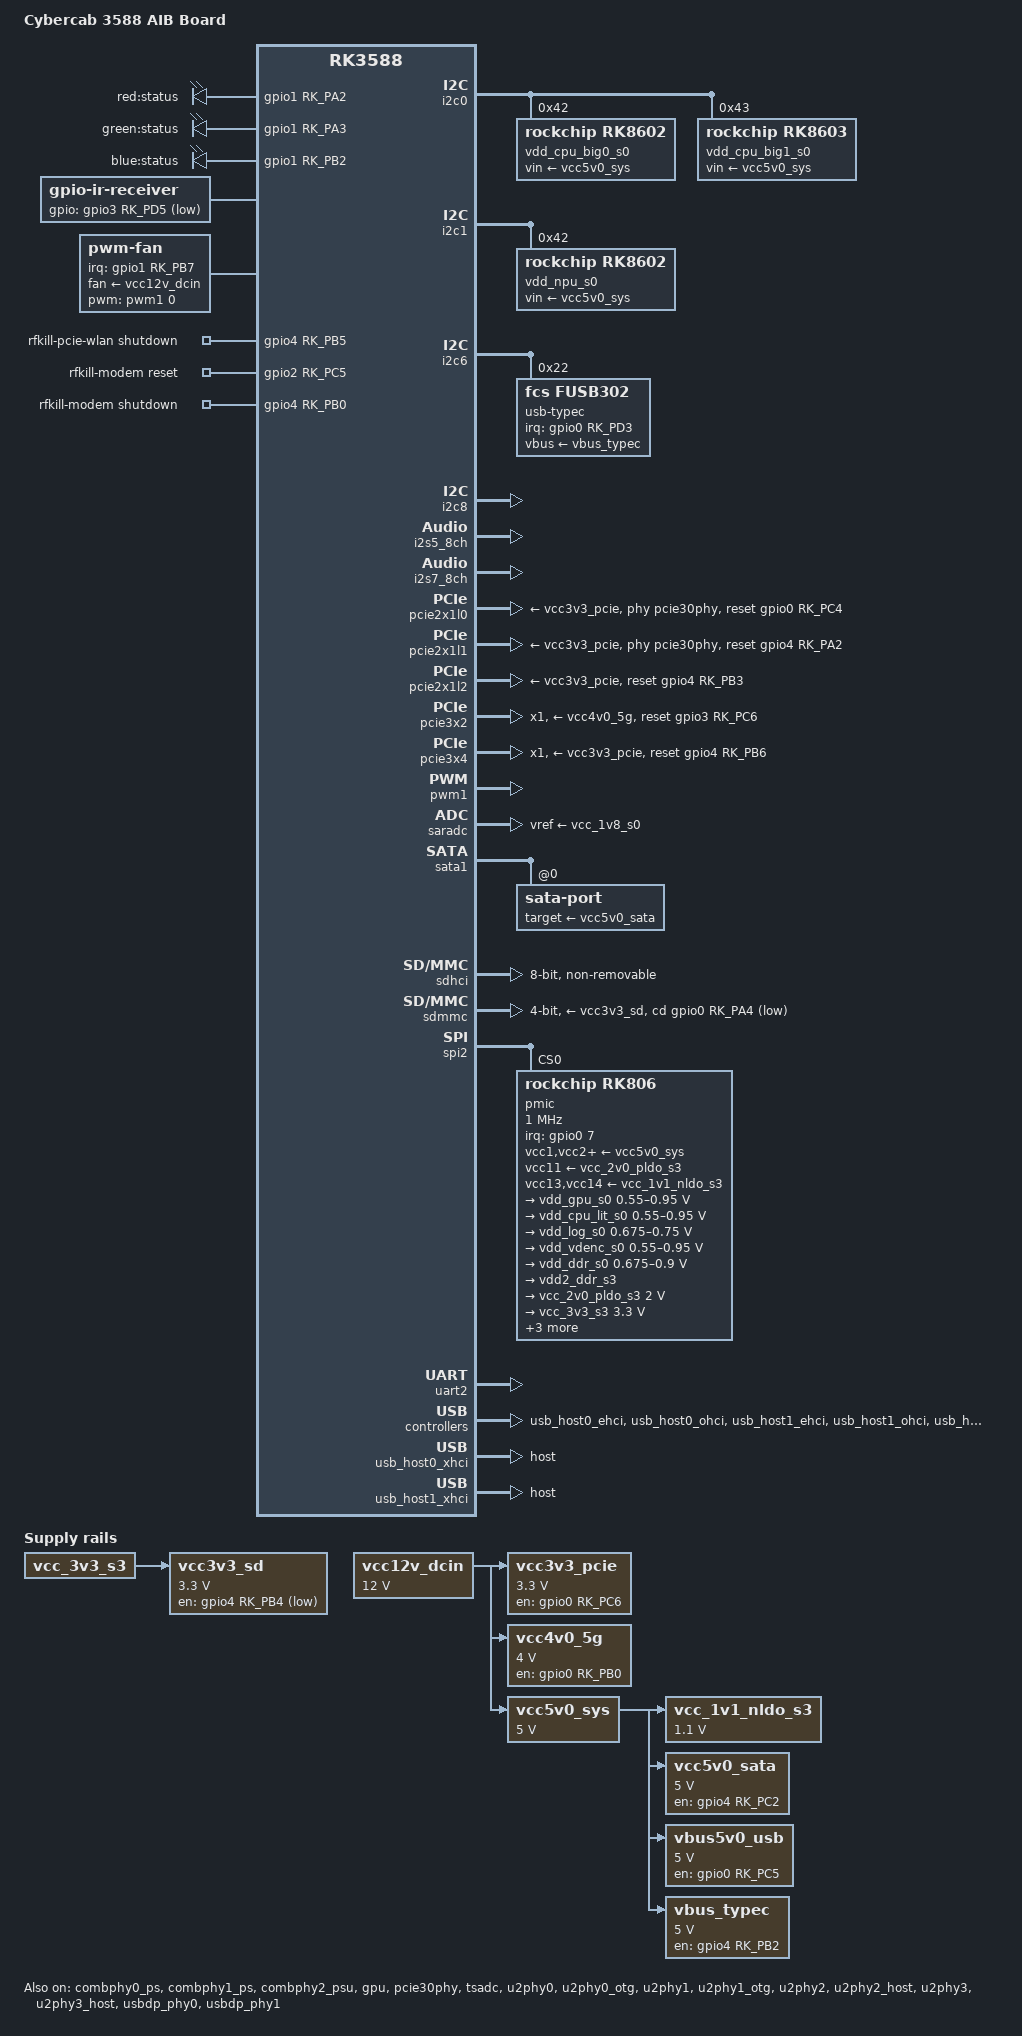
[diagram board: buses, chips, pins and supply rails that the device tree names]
// SPDX-License-Identifier: (GPL-2.0+ OR MIT)

/dts-v1/;
#include <dt-bindings/gpio/gpio.h>
#include <dt-bindings/pinctrl/rockchip.h>
#include <dt-bindings/pwm/pwm.h>
#include "rk3588.dtsi"

/ {
	model = "Cybercab 3588 AIB Board";
	compatible = "seewo,srcm3588-io", "rockchip,rk3588";

	aliases {
		mmc0 = &sdhci;
		mmc1 = &sdmmc;
		led-boot = &led_status_red;
		led-failsafe = &led_status_red;
		led-running = &led_status_blue;
		led-upgrade = &led_status_green;
	};

	leds {
		compatible = "gpio-leds";

		led_status_red: status-red {
			label = "red:status";
			gpios = <&gpio1 RK_PA2 GPIO_ACTIVE_HIGH>;
		};

		led_status_green: status-green {
			label = "green:status";
			gpios = <&gpio1 RK_PA3 GPIO_ACTIVE_HIGH>;
		};

		led_status_blue: status-blue {
			label = "blue:status";
			gpios = <&gpio1 RK_PB2 GPIO_ACTIVE_HIGH>;
		};
	};

	ir-receiver {
		compatible = "gpio-ir-receiver";
		gpios = <&gpio3 RK_PD5 GPIO_ACTIVE_LOW>;
		pinctrl-names = "default";
		pinctrl-0 = <&ir_out_pin>;
	};

	pwm-fan {
		compatible = "pwm-fan";
		cooling-levels = <100 150 200 255>;
		fan-supply = <&vcc12v_dcin>;
		interrupt-parent = <&gpio1>;
		interrupts = <RK_PB7 IRQ_TYPE_EDGE_RISING>;
		pwms = <&pwm1 0 10000 PWM_POLARITY_INVERTED>;
		#cooling-cells = <2>;
	};

	rfkill-wlan {
		compatible = "rfkill-gpio";
		label = "rfkill-pcie-wlan";
		radio-type = "wlan";
		shutdown-gpios = <&gpio4 RK_PB5 GPIO_ACTIVE_HIGH>;
	};

	rfkill-modem {
		compatible = "rfkill-gpio";
		label = "rfkill-modem";
		radio-type = "wwan";
		reset-gpios = <&gpio2 RK_PC5 GPIO_ACTIVE_HIGH>;
		shutdown-gpios = <&gpio4 RK_PB0 GPIO_ACTIVE_HIGH>;
	};

	vcc12v_dcin: vcc12v-dcin {
		compatible = "regulator-fixed";
		regulator-name = "vcc12v_dcin";
		regulator-always-on;
		regulator-boot-on;
		regulator-min-microvolt = <12000000>;
		regulator-max-microvolt = <12000000>;
	};

	vcc_1v1_nldo_s3: vcc-1v1-nldo-s3 {
		compatible = "regulator-fixed";
		regulator-name = "vcc_1v1_nldo_s3";
		regulator-always-on;
		regulator-boot-on;
		regulator-min-microvolt = <1100000>;
		regulator-max-microvolt = <1100000>;
		vin-supply = <&vcc5v0_sys>;
	};

	vcc3v3_pcie: vcc3v3-pcie {
		compatible = "regulator-fixed";
		enable-active-high;
		gpios = <&gpio0 RK_PC6 GPIO_ACTIVE_HIGH>;
		regulator-name = "vcc3v3_pcie";
		regulator-min-microvolt = <3300000>;
		regulator-max-microvolt = <3300000>;
		startup-delay-us = <5000>;
		vin-supply = <&vcc12v_dcin>;
	};

	vcc3v3_sd: vcc3v3-sd {
		compatible = "regulator-fixed";
		gpio = <&gpio4 RK_PB4 GPIO_ACTIVE_LOW>;
		pinctrl-names = "default";
		pinctrl-0 = <&sd_pwren>;
		regulator-boot-on;
		regulator-max-microvolt = <3300000>;
		regulator-min-microvolt = <3300000>;
		regulator-name = "vcc3v3_sd";
		vin-supply = <&vcc_3v3_s3>;
	};

	vcc4v0_5g: vcc4v0-5g {
		compatible = "regulator-fixed";
		enable-active-high;
		gpio = <&gpio0 RK_PB0 GPIO_ACTIVE_HIGH>;
		regulator-name = "vcc4v0_5g";
		regulator-min-microvolt = <4000000>;
		regulator-max-microvolt = <4000000>;
		vin-supply = <&vcc12v_dcin>;
	};

	vcc5v0_sata: vcc5v0-sata {
		compatible = "regulator-fixed";
		enable-active-high;
		gpio = <&gpio4 RK_PC2 GPIO_ACTIVE_HIGH>;
		pinctrl-names = "default";
		pinctrl-0 = <&sata_power_en>;
		regulator-name = "vcc5v0_sata";
		regulator-min-microvolt = <5000000>;
		regulator-max-microvolt = <5000000>;
		vin-supply = <&vcc5v0_sys>;
	};

	vcc5v0_sys: vcc5v0-sys {
		compatible = "regulator-fixed";
		regulator-name = "vcc5v0_sys";
		regulator-always-on;
		regulator-boot-on;
		regulator-min-microvolt = <5000000>;
		regulator-max-microvolt = <5000000>;
		vin-supply = <&vcc12v_dcin>;
	};

	vbus5v0_usb: vbus5v0-usb {
		compatible = "regulator-fixed";
		enable-active-high;
		gpio = <&gpio0 RK_PC5 GPIO_ACTIVE_HIGH>;
		pinctrl-names = "default";
		pinctrl-0 = <&vbus5v0_pwren>;
		regulator-name = "vbus5v0_usb";
		regulator-min-microvolt = <5000000>;
		regulator-max-microvolt = <5000000>;
		vin-supply = <&vcc5v0_sys>;
	};

	vbus_typec: vbus-typec {
		compatible = "regulator-fixed";
		enable-active-high;
		gpio = <&gpio4 RK_PB2 GPIO_ACTIVE_HIGH>;
		pinctrl-names = "default";
		pinctrl-0 = <&typec5v_pwren>;
		regulator-name = "vbus5v0_typec";
		regulator-min-microvolt = <5000000>;
		regulator-max-microvolt = <5000000>;
		vin-supply = <&vcc5v0_sys>;
	};
};

&combphy0_ps {
	status = "okay";
};

&combphy1_ps {
	status = "okay";
};

&combphy2_psu {
	status = "okay";
};

&cpu_b0 {
	cpu-supply = <&vdd_cpu_big0_s0>;
};

&cpu_b1 {
	cpu-supply = <&vdd_cpu_big0_s0>;
};

&cpu_b2 {
	cpu-supply = <&vdd_cpu_big1_s0>;
};

&cpu_b3 {
	cpu-supply = <&vdd_cpu_big1_s0>;
};

&cpu_l0 {
	cpu-supply = <&vdd_cpu_lit_s0>;
};

&cpu_l1 {
	cpu-supply = <&vdd_cpu_lit_s0>;
};

&cpu_l2 {
	cpu-supply = <&vdd_cpu_lit_s0>;
};

&cpu_l3 {
	cpu-supply = <&vdd_cpu_lit_s0>;
};

&gpu {
	mali-supply = <&vdd_gpu_s0>;
	sram-supply = <&vdd_gpu_s0>;
	status = "okay";
};

&i2c0 {
	pinctrl-names = "default";
	pinctrl-0 = <&i2c0m2_xfer>;
	status = "okay";

	vdd_cpu_big0_s0: regulator@42 {
		compatible = "rockchip,rk8602";
		reg = <0x42>;
		fcs,suspend-voltage-selector = <1>;
		regulator-name = "vdd_cpu_big0_s0";
		regulator-min-microvolt = <550000>;
		regulator-max-microvolt = <1050000>;
		regulator-ramp-delay = <2300>;
		regulator-boot-on;
		regulator-always-on;
		vin-supply = <&vcc5v0_sys>;

		regulator-state-mem {
			regulator-off-in-suspend;
		};
	};

	vdd_cpu_big1_s0: regulator@43 {
		compatible = "rockchip,rk8603", "rockchip,rk8602";
		reg = <0x43>;
		fcs,suspend-voltage-selector = <1>;
		regulator-name = "vdd_cpu_big1_s0";
		regulator-min-microvolt = <550000>;
		regulator-max-microvolt = <1050000>;
		regulator-ramp-delay = <2300>;
		regulator-boot-on;
		regulator-always-on;
		vin-supply = <&vcc5v0_sys>;

		regulator-state-mem {
			regulator-off-in-suspend;
		};
	};
};

&i2c1 {
	pinctrl-names = "default";
	pinctrl-0 = <&i2c1m2_xfer>;
	status = "okay";

	vdd_npu_s0: regulator@42 {
		compatible = "rockchip,rk8602";
		reg = <0x42>;
		fcs,suspend-voltage-selector = <1>;
		regulator-name = "vdd_npu_s0";
		regulator-min-microvolt = <550000>;
		regulator-max-microvolt = <950000>;
		regulator-ramp-delay = <2300>;
		regulator-boot-on;
		regulator-always-on;
		vin-supply = <&vcc5v0_sys>;

		regulator-state-mem {
			regulator-off-in-suspend;
		};
	};
};

&i2c6 {
	status = "okay";

	usb-typec@22 {
		compatible = "fcs,fusb302";
		reg = <0x22>;
		interrupt-parent = <&gpio0>;
		interrupts = <RK_PD3 IRQ_TYPE_LEVEL_LOW>;
		pinctrl-names = "default";
		pinctrl-0 = <&cc_int_l>;
		vbus-supply = <&vbus_typec>;
	};
};

&i2c8 {
	pinctrl-names = "default";
	pinctrl-0 = <&i2c8m1_xfer>;
	status = "okay";
};

&i2s5_8ch {
	status = "okay";
};

&i2s7_8ch {
	status = "okay";
};

/* M.2 2280 SSD */
&pcie2x1l0 {
	phys = <&pcie30phy>;
	reset-gpios = <&gpio0 RK_PC4 GPIO_ACTIVE_HIGH>;
	vpcie3v3-supply = <&vcc3v3_pcie>;
	status = "okay";
};

/* RTL8125B_1 */
&pcie2x1l1 {
	phys = <&pcie30phy>;
	reset-gpios = <&gpio4 RK_PA2 GPIO_ACTIVE_HIGH>;
	vpcie3v3-supply = <&vcc3v3_pcie>;
	status = "okay";
};

/* RTL8125B_2 */
&pcie2x1l2 {
	reset-gpios = <&gpio4 RK_PB3 GPIO_ACTIVE_HIGH>;
	vpcie3v3-supply = <&vcc3v3_pcie>;
	status = "okay";
};

&pcie30phy {
	data-lanes = <1 3 2 4>;
	status = "okay";
};

/* 5G modem */
&pcie3x2 {
	num-lanes = <1>;
	reset-gpios = <&gpio3 RK_PC6 GPIO_ACTIVE_HIGH>;
	vpcie3v3-supply = <&vcc4v0_5g>;
	status = "okay";
};

/* M.2 WiFi */
&pcie3x4 {
	num-lanes = <1>;
	reset-gpios = <&gpio4 RK_PB6 GPIO_ACTIVE_HIGH>;
	vpcie3v3-supply = <&vcc3v3_pcie>;
	status = "okay";
};

&pinctrl {
	ir {
		ir_out_pin: ir-out-pin {
			rockchip,pins = <3 RK_PD5 RK_FUNC_GPIO &pcfg_pull_up>;
		};
	};

	sata {
		sata_power_en: sata-power-en {
			rockchip,pins = <4 RK_PC2 RK_FUNC_GPIO &pcfg_pull_none>;
		};
	};

	mmc {
		sd_pwren: sd-pwren {
			rockchip,pins = <4 RK_PB4 RK_FUNC_GPIO &pcfg_pull_none>;
		};
	};

	usb {
		vbus5v0_pwren: vbus5v0-pwren {
			rockchip,pins = <0 RK_PC5 RK_FUNC_GPIO &pcfg_pull_none>;
		};
	};

	usb-typec {
		cc_int_l: cc-int-l {
			rockchip,pins = <0 RK_PD3 RK_FUNC_GPIO &pcfg_pull_up>;
		};

		typec5v_pwren: typec5v-pwren {
			rockchip,pins = <4 RK_PB2 RK_FUNC_GPIO &pcfg_pull_none>;
		};
	};
};

&pwm1 {
	pinctrl-names = "default";
	pinctrl-0 = <&pwm1m1_pins>;
	status = "okay";
};

&saradc {
	vref-supply = <&vcc_1v8_s0>;
	status = "okay";
};

&sata1 {
	status = "okay";

	sata-port@0 {
		target-supply = <&vcc5v0_sata>;
	};
};

&sdhci {
	bus-width = <8>;
	mmc-hs400-1_8v;
	mmc-hs400-enhanced-strobe;
	non-removable;
	status = "okay";
};

&sdmmc {
	bus-width = <4>;
	cap-sd-highspeed;
	cd-gpios = <&gpio0 RK_PA4 GPIO_ACTIVE_LOW>;
	disable-wp;
	max-frequency = <150000000>;
	sd-uhs-sdr104;
	vmmc-supply = <&vcc3v3_sd>;
	vqmmc-supply = <&vccio_sd_s0>;
	status = "okay";
};

&spi2 {
	assigned-clocks = <&cru CLK_SPI2>;
	assigned-clock-rates = <200000000>;
	num-cs = <1>;
	pinctrl-names = "default";
	pinctrl-0 = <&spi2m2_cs0 &spi2m2_pins>;
	status = "okay";

	pmic@0 {
		compatible = "rockchip,rk806";
		reg = <0x0>;
		interrupt-parent = <&gpio0>;
		interrupts = <7 IRQ_TYPE_LEVEL_LOW>;
		pinctrl-names = "default";
		pinctrl-0 = <&pmic_pins>, <&rk806_dvs1_null>,
			    <&rk806_dvs2_null>, <&rk806_dvs3_null>;
		spi-max-frequency = <1000000>;
		system-power-controller;

		vcc1-supply = <&vcc5v0_sys>;
		vcc2-supply = <&vcc5v0_sys>;
		vcc3-supply = <&vcc5v0_sys>;
		vcc4-supply = <&vcc5v0_sys>;
		vcc5-supply = <&vcc5v0_sys>;
		vcc6-supply = <&vcc5v0_sys>;
		vcc7-supply = <&vcc5v0_sys>;
		vcc8-supply = <&vcc5v0_sys>;
		vcc9-supply = <&vcc5v0_sys>;
		vcc10-supply = <&vcc5v0_sys>;
		vcc11-supply = <&vcc_2v0_pldo_s3>;
		vcc12-supply = <&vcc5v0_sys>;
		vcc13-supply = <&vcc_1v1_nldo_s3>;
		vcc14-supply = <&vcc_1v1_nldo_s3>;
		vcca-supply = <&vcc5v0_sys>;

		gpio-controller;
		#gpio-cells = <2>;

		rk806_dvs1_null: dvs1-null-pins {
			pins = "gpio_pwrctrl1";
			function = "pin_fun0";
		};

		rk806_dvs2_null: dvs2-null-pins {
			pins = "gpio_pwrctrl2";
			function = "pin_fun0";
		};

		rk806_dvs3_null: dvs3-null-pins {
			pins = "gpio_pwrctrl3";
			function = "pin_fun0";
		};

		regulators {
			vdd_gpu_s0: dcdc-reg1 {
				regulator-boot-on;
				regulator-min-microvolt = <550000>;
				regulator-max-microvolt = <950000>;
				regulator-ramp-delay = <12500>;
				regulator-name = "vdd_gpu_s0";
				regulator-enable-ramp-delay = <400>;

				regulator-state-mem {
					regulator-off-in-suspend;
				};
			};

			vdd_cpu_lit_s0: dcdc-reg2 {
				regulator-always-on;
				regulator-boot-on;
				regulator-min-microvolt = <550000>;
				regulator-max-microvolt = <950000>;
				regulator-ramp-delay = <12500>;
				regulator-name = "vdd_cpu_lit_s0";

				regulator-state-mem {
					regulator-off-in-suspend;
				};
			};

			vdd_log_s0: dcdc-reg3 {
				regulator-always-on;
				regulator-boot-on;
				regulator-min-microvolt = <675000>;
				regulator-max-microvolt = <750000>;
				regulator-ramp-delay = <12500>;
				regulator-name = "vdd_log_s0";

				regulator-state-mem {
					regulator-off-in-suspend;
					regulator-suspend-microvolt = <750000>;
				};
			};

			vdd_vdenc_s0: dcdc-reg4 {
				regulator-always-on;
				regulator-boot-on;
				regulator-min-microvolt = <550000>;
				regulator-max-microvolt = <950000>;
				regulator-ramp-delay = <12500>;
				regulator-name = "vdd_vdenc_s0";

				regulator-state-mem {
					regulator-off-in-suspend;
				};
			};

			vdd_ddr_s0: dcdc-reg5 {
				regulator-always-on;
				regulator-boot-on;
				regulator-min-microvolt = <675000>;
				regulator-max-microvolt = <900000>;
				regulator-ramp-delay = <12500>;
				regulator-name = "vdd_ddr_s0";

				regulator-state-mem {
					regulator-off-in-suspend;
					regulator-suspend-microvolt = <850000>;
				};
			};

			vdd2_ddr_s3: dcdc-reg6 {
				regulator-always-on;
				regulator-boot-on;
				regulator-name = "vdd2_ddr_s3";

				regulator-state-mem {
					regulator-on-in-suspend;
				};
			};

			vcc_2v0_pldo_s3: dcdc-reg7 {
				regulator-always-on;
				regulator-boot-on;
				regulator-min-microvolt = <2000000>;
				regulator-max-microvolt = <2000000>;
				regulator-ramp-delay = <12500>;
				regulator-name = "vdd_2v0_pldo_s3";

				regulator-state-mem {
					regulator-on-in-suspend;
					regulator-suspend-microvolt = <2000000>;
				};
			};

			vcc_3v3_s3: dcdc-reg8 {
				regulator-always-on;
				regulator-boot-on;
				regulator-min-microvolt = <3300000>;
				regulator-max-microvolt = <3300000>;
				regulator-name = "vcc_3v3_s3";

				regulator-state-mem {
					regulator-on-in-suspend;
					regulator-suspend-microvolt = <3300000>;
				};
			};

			vddq_ddr_s0: dcdc-reg9 {
				regulator-always-on;
				regulator-boot-on;
				regulator-name = "vddq_ddr_s0";

				regulator-state-mem {
					regulator-off-in-suspend;
				};
			};

			vcc_1v8_s3: dcdc-reg10 {
				regulator-always-on;
				regulator-boot-on;
				regulator-min-microvolt = <1800000>;
				regulator-max-microvolt = <1800000>;
				regulator-name = "vcc_1v8_s3";

				regulator-state-mem {
					regulator-on-in-suspend;
					regulator-suspend-microvolt = <1800000>;
				};
			};

			avcc_1v8_s0: pldo-reg1 {
				regulator-always-on;
				regulator-boot-on;
				regulator-min-microvolt = <1800000>;
				regulator-max-microvolt = <1800000>;
				regulator-name = "avcc_1v8_s0";

				regulator-state-mem {
					regulator-off-in-suspend;
				};
			};

			vcc_1v8_s0: pldo-reg2 {
				regulator-always-on;
				regulator-boot-on;
				regulator-min-microvolt = <1800000>;
				regulator-max-microvolt = <1800000>;
				regulator-name = "vcc_1v8_s0";

				regulator-state-mem {
					regulator-off-in-suspend;
					regulator-suspend-microvolt = <1800000>;
				};
			};

			avdd_1v2_s0: pldo-reg3 {
				regulator-always-on;
				regulator-boot-on;
				regulator-min-microvolt = <1200000>;
				regulator-max-microvolt = <1200000>;
				regulator-name = "avdd_1v2_s0";

				regulator-state-mem {
					regulator-off-in-suspend;
				};
			};

			vcc_3v3_s0: pldo-reg4 {
				regulator-always-on;
				regulator-boot-on;
				regulator-min-microvolt = <3300000>;
				regulator-max-microvolt = <3300000>;
				regulator-ramp-delay = <12500>;
				regulator-name = "vcc_3v3_s0";

				regulator-state-mem {
					regulator-off-in-suspend;
				};
			};

			vccio_sd_s0: pldo-reg5 {
				regulator-always-on;
				regulator-boot-on;
				regulator-min-microvolt = <1800000>;
				regulator-max-microvolt = <3300000>;
				regulator-ramp-delay = <12500>;
				regulator-name = "vccio_sd_s0";

				regulator-state-mem {
					regulator-off-in-suspend;
				};
			};

			pldo6_s3: pldo-reg6 {
				regulator-always-on;
				regulator-boot-on;
				regulator-min-microvolt = <1800000>;
				regulator-max-microvolt = <1800000>;
				regulator-name = "pldo6_s3";

				regulator-state-mem {
					regulator-on-in-suspend;
					regulator-suspend-microvolt = <1800000>;
				};
			};

			vdd_0v75_s3: nldo-reg1 {
				regulator-always-on;
				regulator-boot-on;
				regulator-min-microvolt = <750000>;
				regulator-max-microvolt = <750000>;
				regulator-name = "vdd_0v75_s3";

				regulator-state-mem {
					regulator-on-in-suspend;
					regulator-suspend-microvolt = <750000>;
				};
			};

			vdd_ddr_pll_s0: nldo-reg2 {
				regulator-always-on;
				regulator-boot-on;
				regulator-min-microvolt = <850000>;
				regulator-max-microvolt = <850000>;
				regulator-name = "vdd_ddr_pll_s0";

				regulator-state-mem {
					regulator-off-in-suspend;
					regulator-suspend-microvolt = <850000>;
				};
			};

			avdd_0v75_s0: nldo-reg3 {
				regulator-always-on;
				regulator-boot-on;
				regulator-min-microvolt = <750000>;
				regulator-max-microvolt = <750000>;
				regulator-name = "avdd_0v75_s0";

				regulator-state-mem {
					regulator-off-in-suspend;
				};
			};

			vdd_0v85_s0: nldo-reg4 {
				regulator-always-on;
				regulator-boot-on;
				regulator-min-microvolt = <850000>;
				regulator-max-microvolt = <850000>;
				regulator-name = "vdd_0v85_s0";

				regulator-state-mem {
					regulator-off-in-suspend;
				};
			};

			vdd_0v75_s0: nldo-reg5 {
				regulator-always-on;
				regulator-boot-on;
				regulator-min-microvolt = <750000>;
				regulator-max-microvolt = <750000>;
				regulator-name = "vdd_0v75_s0";

				regulator-state-mem {
					regulator-off-in-suspend;
				};
			};
		};
	};
};

&tsadc {
	status = "okay";
};

&uart2 {
	pinctrl-names = "default";
	pinctrl-0 = <&uart2m0_xfer>;
	status = "okay";
};

&u2phy0 {
	status = "okay";
};

&u2phy0_otg {
	phy-supply = <&vbus_typec>;
	status = "okay";
};

&u2phy1 {
	status = "okay";
};

&u2phy1_otg {
	phy-supply = <&vbus5v0_usb>;
	status = "okay";
};

&u2phy2 {
	status = "okay";
};

&u2phy2_host {
	phy-supply = <&vcc4v0_5g>;
	status = "okay";
};

&u2phy3 {
	status = "okay";
};

&u2phy3_host {
	phy-supply = <&vbus5v0_usb>;
	status = "okay";
};

&usbdp_phy0 {
	mode-switch;
	orientation-switch;
	sbu1-dc-gpios = <&gpio4 RK_PA6 GPIO_ACTIVE_HIGH>;
	sbu2-dc-gpios = <&gpio4 RK_PA7 GPIO_ACTIVE_HIGH>;
	status = "okay";
};

&usbdp_phy1 {
	status = "okay";
};

&usb_host0_ehci {
	status = "okay";
};

&usb_host0_ohci {
	status = "okay";
};

&usb_host0_xhci {
	dr_mode = "host";
	usb-role-switch;
	status = "okay";
};

&usb_host1_ehci {
	status = "okay";
};

&usb_host1_ohci {
	status = "okay";
};

&usb_host1_xhci {
	dr_mode = "host";
	status = "okay";
};

&usb_host2_xhci {
	status = "okay";
};
